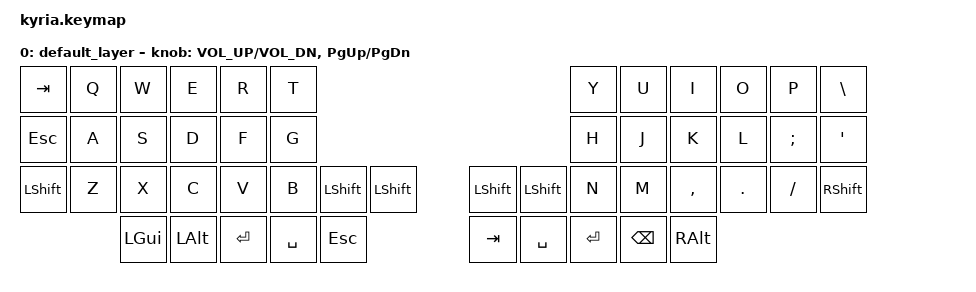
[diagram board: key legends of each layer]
/* * Copyright (c) 2020 The ZMK Contributors *
 * SPDX-License-Identifier: MIT
 */

#include <behaviors.dtsi>
#include <dt-bindings/zmk/keys.h>

/ {
	keymap {
		compatible = "zmk,keymap";

		default_layer {
// ---------------------------------------------------------------------------------------------------------------------------------
// |  TAB  |  Q  |  W  |  E   |  R   |  T   |                                          |  Y   |  U    |  I    |  O   |   P   |   \  |
// |  ESC  |  A  |  S  |  D   |  F   |  G   |                                          |  H   |  J    |  K    |  L   |   ;   |   '  |
// | SHIFT |  Z  |  X  |  C   |  V   |  B   | L SHIFT | L SHIFT |  | L SHIFT | L SHIFT |  N   |  M    |  ,    |  .   |   /   | SHIFT |
//                     | GUI  | ALT  | RET  |  SPACE  |   ESC   |  |   TAB   |  SPACE  | RET  | BSPC  | R-ALT |
			bindings = <
	&kp TAB   &kp Q &kp W &kp E &kp R &kp T                                                &kp Y &kp U  &kp I     &kp O   &kp P    &kp BSLH
	&kp ESC   &kp A &kp S &kp D &kp F &kp G                                                &kp H &kp J  &kp K     &kp L   &kp SEMI &kp SQT
	&kp LSHFT &kp Z &kp X &kp C &kp V &kp B &kp LSHFT &kp LSHFT        &kp LSHFT &kp LSHFT &kp N &kp M  &kp COMMA &kp DOT &kp FSLH &kp RSHIFT
	                 &kp LGUI &kp LALT &kp RET &kp SPACE &kp ESC        &kp TAB  &kp SPACE  &kp RET &kp BSPC &kp RALT
			>;

			sensor-bindings = <&inc_dec_kp C_VOL_UP C_VOL_DN &inc_dec_kp PG_UP PG_DN>;
		};
	};
};
